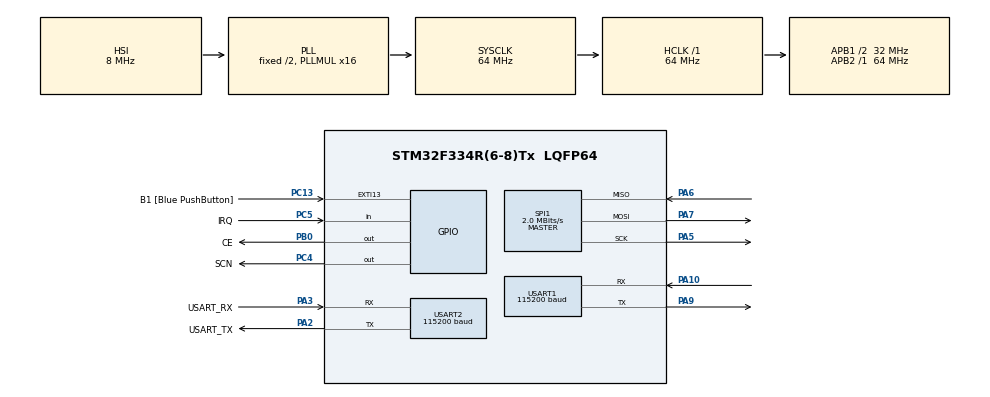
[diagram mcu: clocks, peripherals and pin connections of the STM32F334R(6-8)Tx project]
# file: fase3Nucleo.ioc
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Mcu.Family=STM32F3
Mcu.Name=STM32F334R(6-8)Tx
Mcu.Package=LQFP64
NVIC.PriorityGroup=NVIC_PRIORITYGROUP_0
NVIC.SPI1_IRQn=true\:0\:0\:false\:true\:true\:1
NVIC.USART1_IRQn=true\:0\:0\:false\:true\:true\:2
NVIC.USART2_IRQn=true\:0\:0\:false\:true\:true\:3
PA10.Mode=Asynchronous
PA10.Signal=USART1_RX
PA13.GPIO_Label=TMS
PA13.Signal=SYS_JTMS-SWDIO
PA14.GPIO_Label=TCK
PA14.Signal=SYS_JTCK-SWCLK
PA2.GPIO_Label=USART_TX
PA2.Mode=Asynchronous
PA2.Signal=USART2_TX
PA3.GPIO_Label=USART_RX
PA3.Mode=Asynchronous
PA3.Signal=USART2_RX
PA5.Mode=Full_Duplex_Master
PA5.Signal=SPI1_SCK
PA6.Mode=Full_Duplex_Master
PA6.Signal=SPI1_MISO
PA7.Mode=Full_Duplex_Master
PA7.Signal=SPI1_MOSI
PA9.Mode=Asynchronous
PA9.Signal=USART1_TX
PB0.GPIO_Label=CE
PB0.Signal=GPIO_Output
PB3.GPIO_Label=SWO
PB3.Signal=SYS_JTDO-TRACESWO
PC13.GPIO_Label=B1 [Blue PushButton]
PC13.GPIO_ModeDefaultEXTI=GPIO_MODE_EVT_RISING
PC13.Signal=GPXTI13
PC14\ /\ OSC32_IN.Signal=RCC_OSC32_IN
PC15\ /\ OSC32_OUT.GPIO_Label=RCC_OSC32_OUT
PC15\ /\ OSC32_OUT.Signal=RCC_OSC32_OUT
PC4.GPIO_Label=SCN
PC4.Signal=GPIO_Output
PC5.GPIO_Label=IRQ
PC5.Signal=GPIO_Input
PF0\ /\ OSC_IN.Signal=RCC_OSC_IN
PF1\ /\ OSC_OUT.Signal=RCC_OSC_OUT
ProjectManager.HeapSize=0x200
ProjectManager.StackSize=0x400
ProjectManager.TargetToolchain=EWARM
RCC.AHBFreq_Value=64000000
RCC.APB1CLKDivider=RCC_HCLK_DIV2
RCC.APB1Freq_Value=32000000
RCC.APB1TimFreq_Value=64000000
RCC.APB2Freq_Value=64000000
RCC.APB2TimFreq_Value=64000000
RCC.CortexFreq_Value=64000000
RCC.FLatency-AdvancedSettings=FLASH_LATENCY_2
RCC.HCLKFreq_Value=64000000
RCC.HSE_VALUE=8000000
RCC.HSI_VALUE=8000000
RCC.LSE_VALUE=32768
RCC.PLLMUL=RCC_PLL_MUL16
RCC.SYSCLKFreq_VALUE=64000000
RCC.SYSCLKSourceVirtual=RCC_SYSCLKSOURCE_PLLCLK
SPI1.BaudRatePrescaler=SPI_BAUDRATEPRESCALER_32
SPI1.CalculateBaudRate=2.0 MBits/s
SPI1.DataSize=SPI_DATASIZE_8BIT
SPI1.Mode=SPI_MODE_MASTER
USART1.BaudRate=115200
USART1.WordLength=UART_WORDLENGTH_8B
USART2.BaudRate=115200
USART2.WordLength=UART_WORDLENGTH_8B
board=NUCLEO-F334R8

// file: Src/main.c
/**
  ******************************************************************************
  * File Name          : main.c
  * Description        : Main program body
  ******************************************************************************
  *
  * COPYRIGHT(c) 2016 STMicroelectronics
  *
  * Redistribution and use in source and binary forms, with or without modification,
  * are permitted provided that the following conditions are met:
  *   1. Redistributions of source code must retain the above copyright notice,
  *      this list of conditions and the following disclaimer.
  *   2. Redistributions in binary form must reproduce the above copyright notice,
  *      this list of conditions and the following disclaimer in the documentation
  *      and/or other materials provided with the distribution.
  *   3. Neither the name of STMicroelectronics nor the names of its contributors
  *      may be used to endorse or promote products derived from this software
  *      without specific prior written permission.
  *
  * THIS SOFTWARE IS PROVIDED BY THE COPYRIGHT HOLDERS AND CONTRIBUTORS "AS IS"
  * AND ANY EXPRESS OR IMPLIED WARRANTIES, INCLUDING, BUT NOT LIMITED TO, THE
  * IMPLIED WARRANTIES OF MERCHANTABILITY AND FITNESS FOR A PARTICULAR PURPOSE ARE
  * DISCLAIMED. IN NO EVENT SHALL THE COPYRIGHT HOLDER OR CONTRIBUTORS BE LIABLE
  * FOR ANY DIRECT, INDIRECT, INCIDENTAL, SPECIAL, EXEMPLARY, OR CONSEQUENTIAL
  * DAMAGES (INCLUDING, BUT NOT LIMITED TO, PROCUREMENT OF SUBSTITUTE GOODS OR
  * SERVICES; LOSS OF USE, DATA, OR PROFITS; OR BUSINESS INTERRUPTION) HOWEVER
  * CAUSED AND ON ANY THEORY OF LIABILITY, WHETHER IN CONTRACT, STRICT LIABILITY,
  * OR TORT (INCLUDING NEGLIGENCE OR OTHERWISE) ARISING IN ANY WAY OUT OF THE USE
  * OF THIS SOFTWARE, EVEN IF ADVISED OF THE POSSIBILITY OF SUCH DAMAGE.
  *
  ******************************************************************************
  */
#include "stm32f3xx_hal.h"

/* USER CODE BEGIN Includes */

#include "nrf24l01_lib.h"

/* CSN Pin*/
#ifndef NRF24L01_CSN_PIN
#define NRF24L01_CSN_PORT			GPIOC
#define NRF24L01_CSN_PIN			GPIO_PIN_4
#endif

/* CE Pin */
#ifndef NRF24L01_CE_PIN
#define NRF24L01_CE_PORT			GPIOB
#define NRF24L01_CE_PIN				GPIO_PIN_0
#endif

/* Configurazioni dei Pin CE e CSN */
#define NRF24L01_CE_LOW				HAL_GPIO_WritePin(NRF24L01_CE_PORT, NRF24L01_CE_PIN, GPIO_PIN_RESET)
#define NRF24L01_CE_HIGH			HAL_GPIO_WritePin(NRF24L01_CE_PORT, NRF24L01_CE_PIN, GPIO_PIN_SET)
#define NRF24L01_CSN_LOW			HAL_GPIO_WritePin(NRF24L01_CSN_PORT, NRF24L01_CSN_PIN, GPIO_PIN_RESET)
#define NRF24L01_CSN_HIGH			HAL_GPIO_WritePin(NRF24L01_CSN_PORT, NRF24L01_CSN_PIN, GPIO_PIN_SET)

/* USER CODE END Includes */

SPI_HandleTypeDef hspi1;

UART_HandleTypeDef huart1;
UART_HandleTypeDef huart2;

/* USER CODE BEGIN PV */
/* Private variables ---------------------------------------------------------*/

/* Esprime lo stato della trasmissione delle variabili */

typedef enum _TM_NRF24L01_Transmit_Status_t {
	TM_NRF24L01_Transmit_Status_Lost = 0x00,   /*!< Message is lost, reached maximum number of retransmissions */
	TM_NRF24L01_Transmit_Status_Ok = 0x01,     /*!< Message sent successfully */
	TM_NRF24L01_Transmit_Status_Sending = 0xFF /*!< Message is still sending */
} TM_NRF24L01_Transmit_Status_t;

typedef union _TM_NRF24L01_IRQ_t {
	struct {
		uint8_t reserved0:4;
		uint8_t MaxRT:1;     /*!< Set to 1 if MAX retransmissions flag is set */
		uint8_t DataSent:1;  /*!< Set to 1 if last transmission is OK */
		uint8_t DataReady:1; /*!< Set to 1 if data are ready to be read */
		uint8_t reserved1:1;
	} F;
	uint8_t Status;          /*!< NRF status register value */
} TM_NRF24L01_IRQ_t;

/* Datarate di trasmissione possibili */

typedef enum _TM_NRF24L01_DataRate_t {
	TM_NRF24L01_DataRate_2M = 0x00, /*!< Data rate set to 2Mbps */
	TM_NRF24L01_DataRate_1M,        /*!< Data rate set to 1Mbps */
	TM_NRF24L01_DataRate_250k       /*!< Data rate set to 250kbps */
} TM_NRF24L01_DataRate_t;

/* Potenza del segnale del TRX */

typedef enum _TM_NRF24L01_OutputPower_t {
	TM_NRF24L01_OutputPower_M18dBm = 0x00,/*!< Output power set to -18dBm */
	TM_NRF24L01_OutputPower_M12dBm,       /*!< Output power set to -12dBm */
	TM_NRF24L01_OutputPower_M6dBm,        /*!< Output power set to -6dBm */
	TM_NRF24L01_OutputPower_0dBm          /*!< Output power set to 0dBm */
} TM_NRF24L01_OutputPower_t;

/* Struct delle caratteristiche del collegamento */

typedef struct {
	uint8_t PayloadSize;				//Payload size
	uint8_t Channel;					//Channel selected
	TM_NRF24L01_OutputPower_t OutPwr;	//Output power
	TM_NRF24L01_DataRate_t DataRate;	//Data rate
} TM_NRF24L01_t;

static TM_NRF24L01_t TM_NRF24L01_Struct;

/* Indirizzo della NUCLEO F3*/

uint8_t MyAddress[] = {
	0xAA,
	0x00,
	0x00,
	0x00,
	0x00
};

/* Indirizzo della SENSORBOARD F0 */

uint8_t TxAddress[] = {
	0xAA,
	0x00,
	0x00,
	0x00,
	0x01
};

/* Istanze delle struct dichiarate precedentemente */

TM_NRF24L01_Transmit_Status_t transmissionStatus;
TM_NRF24L01_IRQ_t NRF_IRQ;

/* Array dei dati da trasmettere */
uint8_t comando1[6] = {0x01, 0x01};              //GET TIM
uint8_t comando2[6] = {0x01, 0x02};              //GET INC
uint8_t comando3[6] = {0x03, 0x03, 0x01};        //SET LED val = 0xFFFF
uint8_t comando4[6] = {0x03, 0x03, 0x02};        //SET LED val = 0x0000
int flag = 0;           /* Permette di eseguire le trasmissioni dei comandi*/
int led_flag = 1;       /* Indica se bisogna settare i LED come stato alto (=1) o basso (=0) */

/* Array dei dati da ricevere */
uint8_t dataIn[6];

int usart1_flag = 0;             /* flag usato per individuare eventuali dati ricevuti su usart1 */
uint8_t rx_buff[200];           /*buffer di ricezione per la UART1*/

/* USER CODE END PV */

void SystemClock_Config(void);
static void MX_GPIO_Init(void);
static void MX_SPI1_Init(void);
static void MX_USART1_UART_Init(void);
static void MX_USART2_UART_Init(void);
void MX_NVIC_Init(void);

/* USER CODE BEGIN PFP */
/* Private function prototypes -----------------------------------------------*/

/* Funzioni di supporto alla comunicazione con TRX wireless */

void TM_NRF24L01_SetChannel(uint8_t);
uint8_t TM_NRF24L01_Init(uint8_t, uint8_t);
void TM_NRF24L01_SoftwareReset(void);
void TM_NRF24L01_WriteRegister(uint8_t reg, uint8_t valore);
void TM_NRF24L01_Clear_Interrupts(void);
void TM_NRF24L01_PowerUpRx(void);
void TM_NRF24L01_WriteRegisterMulti(uint8_t, uint8_t*, uint8_t);
void TM_NRF24L01_SetMyAddress(uint8_t*);
void TM_NRF24L01_SetTxAddress(uint8_t*);
void TM_NRF24L01_PowerUpTx(void);
void TM_NRF24L01_Transmit();
TM_NRF24L01_Transmit_Status_t TM_NRF24L01_GetTransmissionStatus(void);
uint8_t TM_NRF24L01_GetStatus(void);
uint8_t TM_NRF24L01_ReadRegister(uint8_t reg);
void TM_NRF24L01_GetData(uint8_t*);
uint8_t TM_NRF24L01_DataReady(void);
uint8_t TM_NRF24L01_RxFifoEmpty(void);

/* USER CODE END PFP */

int main(void)
{

  /* USER CODE BEGIN 1 */

  uint8_t printed = 0;

  /* USER CODE END 1 */

  /* MCU Configuration----------------------------------------------------------*/

  /* Reset of all peripherals, Initializes the Flash interface and the Systick. */
  HAL_Init();

  /* Configure the system clock */
  SystemClock_Config();

  /* Initialize all configured peripherals */
  MX_GPIO_Init();
  MX_SPI1_Init();
  MX_USART1_UART_Init();
  MX_USART2_UART_Init();

  /* Initialize interrupts */
  MX_NVIC_Init();

  /* USER CODE BEGIN 2 */

  HAL_UART_Receive_IT(&huart1, rx_buff, sizeof(rx_buff));

  /* Inizializzazione dei registri */
  TM_NRF24L01_Init(0x050, 0x06);

  /* Inizializzazione indirizzo cui trasmettere */
  TM_NRF24L01_SetTxAddress(TxAddress);
  /* Inizializzazione indirizzo del trasmettitore */
  TM_NRF24L01_SetMyAddress(MyAddress);
  HAL_Delay(500);

  /* USER CODE END 2 */

  /* Infinite loop */
  /* USER CODE BEGIN WHILE */
  while (1)
  {
    if(usart1_flag == 1){
      HAL_UART_Transmit(&huart2, rx_buff, sizeof(rx_buff), 100);
    }

    /* Transmit data, goes automatically to TX mode */
    //dataOut[1] = 0x00;

    switch (flag){
    case 0:
      TM_NRF24L01_Transmit(comando1);           //GET TIM
      flag++;
      HAL_Delay(500);
      break;

    case 1:                                     //GET INC
      TM_NRF24L01_Transmit(comando2);
      flag++;
      HAL_Delay(500);
      break;

    case 2:
      if(led_flag == 1){
        TM_NRF24L01_Transmit(comando3);         //SET LED 1
        led_flag = 0;
      } else if(led_flag == 0){
        TM_NRF24L01_Transmit(comando4);         //SET LED 2
        led_flag = 1;
      }
      flag=0;
      HAL_Delay(1000);
      break;
    }

    do {
      /* Restituisce lo stato della trasmissione */
      transmissionStatus = TM_NRF24L01_GetTransmissionStatus();
    } while (transmissionStatus == TM_NRF24L01_Transmit_Status_Sending);

    /* Il TRX torna nello stato RX */
    TM_NRF24L01_PowerUpRx();

    /* Si attende la ricezione dei dati dalla SENSORBOARD F0 */
    while (!TM_NRF24L01_DataReady());

    /* Ottieni i dati trasmessi dalla SENSORBOARD F0*/
    TM_NRF24L01_GetData(dataIn);
    /* Si stampano i dati ricevuti sulla USART2*/
    HAL_UART_Transmit(&huart2, dataIn, sizeof(dataIn), 100);

    /* Stato della comunicazione non stampato sulla USART1 */
    printed = 0;

    /* Controlla se lo stato и cambiato */
    if (transmissionStatus != TM_NRF24L01_Transmit_Status_Sending &&
	!printed)
	{
          /* Transmissione OK */
          if (transmissionStatus == TM_NRF24L01_Transmit_Status_Ok) {
            uint8_t service_txt[] = "\nMessaggio consegnato!\n";
            //HAL_UART_Transmit(&huart2, service_txt, sizeof(service_txt), 100);
          }

          /* Message LOST */
          if (transmissionStatus == TM_NRF24L01_Transmit_Status_Lost) {
            uint8_t service_txt2[] = "\nMessaggio perso!\n";
            //HAL_UART_Transmit(&huart2, service_txt, sizeof(service_txt), 100);
          }

          /* Set del flag Stampato */
          printed = 1;
	}

  /* USER CODE END WHILE */

  }

}

/** System Clock Configuration
*/
void SystemClock_Config(void)
{

  RCC_OscInitTypeDef RCC_OscInitStruct;
  RCC_ClkInitTypeDef RCC_ClkInitStruct;
  RCC_PeriphCLKInitTypeDef PeriphClkInit;

  RCC_OscInitStruct.OscillatorType = RCC_OSCILLATORTYPE_HSI;
  RCC_OscInitStruct.HSIState = RCC_HSI_ON;
  RCC_OscInitStruct.HSICalibrationValue = 16;
  RCC_OscInitStruct.PLL.PLLState = RCC_PLL_ON;
  RCC_OscInitStruct.PLL.PLLSource = RCC_PLLSOURCE_HSI;
  RCC_OscInitStruct.PLL.PLLMUL = RCC_PLL_MUL16;
  HAL_RCC_OscConfig(&RCC_OscInitStruct);

  RCC_ClkInitStruct.ClockType = RCC_CLOCKTYPE_HCLK|RCC_CLOCKTYPE_SYSCLK
                              |RCC_CLOCKTYPE_PCLK1|RCC_CLOCKTYPE_PCLK2;
  RCC_ClkInitStruct.SYSCLKSource = RCC_SYSCLKSOURCE_PLLCLK;
  RCC_ClkInitStruct.AHBCLKDivider = RCC_SYSCLK_DIV1;
  RCC_ClkInitStruct.APB1CLKDivider = RCC_HCLK_DIV2;
  RCC_ClkInitStruct.APB2CLKDivider = RCC_HCLK_DIV1;
  HAL_RCC_ClockConfig(&RCC_ClkInitStruct, FLASH_LATENCY_2);

  PeriphClkInit.PeriphClockSelection = RCC_PERIPHCLK_USART1;
  PeriphClkInit.Usart1ClockSelection = RCC_USART1CLKSOURCE_PCLK1;
  HAL_RCCEx_PeriphCLKConfig(&PeriphClkInit);

  HAL_SYSTICK_Config(HAL_RCC_GetHCLKFreq()/1000);

  HAL_SYSTICK_CLKSourceConfig(SYSTICK_CLKSOURCE_HCLK);

  /* SysTick_IRQn interrupt configuration */
  HAL_NVIC_SetPriority(SysTick_IRQn, 0, 0);
}

/** NVIC Configuration
*/
void MX_NVIC_Init(void)
{
  /* SPI1_IRQn interrupt configuration */
  HAL_NVIC_SetPriority(SPI1_IRQn, 0, 0);
  HAL_NVIC_EnableIRQ(SPI1_IRQn);
  /* USART1_IRQn interrupt configuration */
  HAL_NVIC_SetPriority(USART1_IRQn, 0, 0);
  HAL_NVIC_EnableIRQ(USART1_IRQn);
  /* USART2_IRQn interrupt configuration */
  HAL_NVIC_SetPriority(USART2_IRQn, 0, 0);
  HAL_NVIC_EnableIRQ(USART2_IRQn);
}

/* SPI1 init function */
void MX_SPI1_Init(void)
{

  hspi1.Instance = SPI1;
  hspi1.Init.Mode = SPI_MODE_MASTER;
  hspi1.Init.Direction = SPI_DIRECTION_2LINES;
  hspi1.Init.DataSize = SPI_DATASIZE_8BIT;
  hspi1.Init.CLKPolarity = SPI_POLARITY_LOW;
  hspi1.Init.CLKPhase = SPI_PHASE_1EDGE;
  hspi1.Init.NSS = SPI_NSS_SOFT;
  hspi1.Init.BaudRatePrescaler = SPI_BAUDRATEPRESCALER_32;
  hspi1.Init.FirstBit = SPI_FIRSTBIT_MSB;
  hspi1.Init.TIMode = SPI_TIMODE_DISABLE;
  hspi1.Init.CRCCalculation = SPI_CRCCALCULATION_DISABLE;
  hspi1.Init.CRCPolynomial = 7;
  hspi1.Init.CRCLength = SPI_CRC_LENGTH_DATASIZE;
  hspi1.Init.NSSPMode = SPI_NSS_PULSE_ENABLE;
  HAL_SPI_Init(&hspi1);

}

/* USART1 init function */
void MX_USART1_UART_Init(void)
{

  huart1.Instance = USART1;
  huart1.Init.BaudRate = 115200;
  huart1.Init.WordLength = UART_WORDLENGTH_8B;
  huart1.Init.StopBits = UART_STOPBITS_1;
  huart1.Init.Parity = UART_PARITY_NONE;
  huart1.Init.Mode = UART_MODE_TX_RX;
  huart1.Init.HwFlowCtl = UART_HWCONTROL_NONE;
  huart1.Init.OverSampling = UART_OVERSAMPLING_16;
  huart1.Init.OneBitSampling = UART_ONE_BIT_SAMPLE_DISABLE;
  huart1.AdvancedInit.AdvFeatureInit = UART_ADVFEATURE_NO_INIT;
  HAL_UART_Init(&huart1);

}

/* USART2 init function */
void MX_USART2_UART_Init(void)
{

  huart2.Instance = USART2;
  huart2.Init.BaudRate = 115200;
  huart2.Init.WordLength = UART_WORDLENGTH_8B;
  huart2.Init.StopBits = UART_STOPBITS_1;
  huart2.Init.Parity = UART_PARITY_NONE;
  huart2.Init.Mode = UART_MODE_TX_RX;
  huart2.Init.HwFlowCtl = UART_HWCONTROL_NONE;
  huart2.Init.OverSampling = UART_OVERSAMPLING_16;
  huart2.Init.OneBitSampling = UART_ONE_BIT_SAMPLE_DISABLE;
  huart2.AdvancedInit.AdvFeatureInit = UART_ADVFEATURE_NO_INIT;
  HAL_UART_Init(&huart2);

}

/** Configure pins as
        * Analog
        * Input
        * Output
        * EVENT_OUT
        * EXTI
*/
void MX_GPIO_Init(void)
{

  GPIO_InitTypeDef GPIO_InitStruct;

  /* GPIO Ports Clock Enable */
  __HAL_RCC_GPIOC_CLK_ENABLE();
  __HAL_RCC_GPIOF_CLK_ENABLE();
  __HAL_RCC_GPIOA_CLK_ENABLE();
  __HAL_RCC_GPIOB_CLK_ENABLE();

  /*Configure GPIO pin : B1_Pin */
  GPIO_InitStruct.Pin = B1_Pin;
  GPIO_InitStruct.Mode = GPIO_MODE_EVT_RISING;
  GPIO_InitStruct.Pull = GPIO_NOPULL;
  HAL_GPIO_Init(B1_GPIO_Port, &GPIO_InitStruct);

  /*Configure GPIO pin : SCN_Pin */
  GPIO_InitStruct.Pin = SCN_Pin;
  GPIO_InitStruct.Mode = GPIO_MODE_OUTPUT_PP;
  GPIO_InitStruct.Pull = GPIO_NOPULL;
  GPIO_InitStruct.Speed = GPIO_SPEED_FREQ_LOW;
  HAL_GPIO_Init(SCN_GPIO_Port, &GPIO_InitStruct);

  /*Configure GPIO pin : IRQ_Pin */
  GPIO_InitStruct.Pin = IRQ_Pin;
  GPIO_InitStruct.Mode = GPIO_MODE_INPUT;
  GPIO_InitStruct.Pull = GPIO_NOPULL;
  HAL_GPIO_Init(IRQ_GPIO_Port, &GPIO_InitStruct);

  /*Configure GPIO pin : CE_Pin */
  GPIO_InitStruct.Pin = CE_Pin;
  GPIO_InitStruct.Mode = GPIO_MODE_OUTPUT_PP;
  GPIO_InitStruct.Pull = GPIO_NOPULL;
  GPIO_InitStruct.Speed = GPIO_SPEED_FREQ_LOW;
  HAL_GPIO_Init(CE_GPIO_Port, &GPIO_InitStruct);

  /*Configure GPIO pin Output Level */
  HAL_GPIO_WritePin(SCN_GPIO_Port, SCN_Pin, GPIO_PIN_RESET);

  /*Configure GPIO pin Output Level */
  HAL_GPIO_WritePin(CE_GPIO_Port, CE_Pin, GPIO_PIN_RESET);

}

/* USER CODE BEGIN 4 */

/*Rx_IT Callback*/

void HAL_UART_RxCpltCallback(UART_HandleTypeDef *huart){
  /*Flush della Uart*/
  usart1_flag = 1;
  __HAL_UART_FLUSH_DRREGISTER(huart);
  __HAL_UART_SEND_REQ(huart, UART_RXDATA_FLUSH_REQUEST);
  __HAL_UART_CLEAR_IT(huart, UART_CLEAR_OREF);

  HAL_UART_Receive_IT(&huart1, rx_buff, sizeof(rx_buff));
}

void TM_NRF24L01_WriteBit(uint8_t reg, uint8_t bit, uint8_t value) {
	uint8_t tmp;
	/* Read register */
	tmp = TM_NRF24L01_ReadRegister(reg);
	/* Make operation */
	if (value) {
		tmp |= 1 << bit;
	} else {
		tmp &= ~(1 << bit);
	}
	/* Write back */
	TM_NRF24L01_WriteRegister(reg, tmp);
}

uint8_t TM_NRF24L01_ReadBit(uint8_t reg, uint8_t bit) {
	uint8_t tmp;
	tmp = TM_NRF24L01_ReadRegister(reg);
	if (!NRF24L01_CHECK_BIT(tmp, bit)) {
		return 0;
	}
	return 1;
}

uint8_t TM_NRF24L01_ReadRegister(uint8_t reg) {
	reg = NRF24L01_READ_REGISTER_MASK(reg); //ha i riferimenti
        uint8_t nop = NRF24L01_NOP_MASK;
        uint8_t value;
	NRF24L01_CSN_LOW;
	//TM_SPI_Send(NRF24L01_SPI, NRF24L01_READ_REGISTER_MASK(reg));
        HAL_SPI_Transmit(&hspi1, &reg, 1, 10);
	//value = TM_SPI_Send(NRF24L01_SPI, NRF24L01_NOP_MASK);
         HAL_SPI_TransmitReceive(&hspi1, &nop, &value, 1 ,10);
	NRF24L01_CSN_HIGH;

	return value;
}

void TM_NRF24L01_WriteRegister(uint8_t reg, uint8_t valore){
    uint8_t comando =  (0x20|(0x1F & reg));
    //CSN low
    //HAL_GPIO_WritePin(GPIOC, GPIO_PIN_4, GPIO_PIN_RESET);
    NRF24L01_CSN_LOW;
    HAL_SPI_Transmit(&hspi1,&comando,1,10);
    HAL_SPI_Transmit(&hspi1,&valore,1,10);
    //CSN high
    //HAL_GPIO_WritePin(GPIOC, GPIO_PIN_4, GPIO_PIN_SET);
    NRF24L01_CSN_HIGH;

}

void TM_NRF24L01_WriteRegisterMulti(uint8_t reg, uint8_t *vett, uint8_t dim){
    uint8_t comando =  (0x20|(0x1F & reg));
    //CSN low
    //HAL_GPIO_WritePin(GPIOC, GPIO_PIN_4, GPIO_PIN_RESET);
    NRF24L01_CSN_LOW;
    HAL_SPI_Transmit(&hspi1, &comando ,1, 10);
    HAL_SPI_Transmit(&hspi1, vett, 5, 10);
    //CSN high
    //HAL_GPIO_WritePin(GPIOC, GPIO_PIN_4, GPIO_PIN_SET);
    NRF24L01_CSN_HIGH;
}

uint8_t TM_NRF24L01_GetStatus(void) {
	uint8_t status;
	uint8_t nop=NRF24L01_NOP_MASK;
	NRF24L01_CSN_LOW;
	/* First received byte is always status register */
	HAL_SPI_TransmitReceive(&hspi1,&nop,&status,1,10);
	/* Pull up chip select */
	NRF24L01_CSN_HIGH;

	return status;
}

TM_NRF24L01_Transmit_Status_t TM_NRF24L01_GetTransmissionStatus(void) {
	uint8_t status = TM_NRF24L01_GetStatus();
	if (NRF24L01_CHECK_BIT(status, NRF24L01_TX_DS)) {
		/* Successfully sent */
		return TM_NRF24L01_Transmit_Status_Ok;
	} else if (NRF24L01_CHECK_BIT(status, NRF24L01_MAX_RT)) {
		/* Message lost */
		return TM_NRF24L01_Transmit_Status_Lost;
	}

	/* Still sending */
	return TM_NRF24L01_Transmit_Status_Sending;
}

void TM_NRF24L01_SetMyAddress(uint8_t *adr) {
	NRF24L01_CE_LOW;
	TM_NRF24L01_WriteRegisterMulti(NRF24L01_REG_RX_ADDR_P1, adr, 5);
	NRF24L01_CE_HIGH;
}

void TM_NRF24L01_SetTxAddress(uint8_t *adr) {
	TM_NRF24L01_WriteRegisterMulti(NRF24L01_REG_RX_ADDR_P0, adr, 5);        //La pipeline P0 viene usata per la trasmissione dell'ACK (vedi pag 72 nrf24l01+.pdf
	TM_NRF24L01_WriteRegisterMulti(NRF24L01_REG_TX_ADDR, adr, 5);
}

void TM_NRF24L01_PowerUpRx(void) {
	/* Disable RX/TX mode */
	NRF24L01_CE_LOW;
	/* Clear RX buffer */
        NRF24L01_FLUSH_RX;
	/* Clear interrupts */
	TM_NRF24L01_Clear_Interrupts();
	/* Setup RX mode */
	//TM_NRF24L01_WriteRegister(NRF24L01_REG_CONFIG, NRF24L01_CONFIG | 1 << NRF24L01_PWR_UP | 1 << NRF24L01_PRIM_RX);
	TM_NRF24L01_WriteRegister(NRF24L01_REG_CONFIG, 0x3F);
        /* Start listening */
	NRF24L01_CE_HIGH;
}

void TM_NRF24L01_Transmit(uint8_t * data) {
  /* Chip enable put to low, disable it */
  NRF24L01_CE_LOW;

  /* Entra in modalitа Trasmissione */
  /*TM_NRF24L01_PowerUpTxPowerUpTx()*/

  TM_NRF24L01_Clear_Interrupts();
  TM_NRF24L01_WriteRegister(NRF24L01_REG_CONFIG, 0x0E);

  /* Clear TX FIFO from NRF24L01+ */

  NRF24L01_FLUSH_TX;

  /* Send payload to nRF24L01+ */
  NRF24L01_CSN_LOW;

  /* Send write payload command */
  uint8_t payloadTxMask = NRF24L01_W_TX_PAYLOAD_MASK;
  HAL_SPI_Transmit(&hspi1, &payloadTxMask, 1, 100);

  /* Fill payload with data*/
  HAL_SPI_Transmit(&hspi1, data, TM_NRF24L01_Struct.PayloadSize, 200);

  /* Disable SPI */
  NRF24L01_CSN_HIGH;

  /* Send data! */
  NRF24L01_CE_HIGH;
}

void TM_NRF24L01_SetChannel(uint8_t channel) {
	if (channel <= 125 && channel != TM_NRF24L01_Struct.Channel) {
		/* Store new channel setting */
		TM_NRF24L01_Struct.Channel = channel;
		/* Write channel */
		TM_NRF24L01_WriteRegister(NRF24L01_REG_RF_CH, channel);
	}
}

uint8_t TM_NRF24L01_Init(uint8_t channel, uint8_t payload_size) {
        //questo
        NRF24L01_CSN_HIGH;
        NRF24L01_CE_LOW;
	/* Max payload is 32bytes */
	if (payload_size > 32) {
		payload_size = 32;
	}

	/* Fill structure */
	TM_NRF24L01_Struct.Channel = !channel; /* Set channel to some different value for TM_NRF24L01_SetChannel() function */
	TM_NRF24L01_Struct.PayloadSize = payload_size;
	TM_NRF24L01_Struct.OutPwr = TM_NRF24L01_OutputPower_0dBm;
	TM_NRF24L01_Struct.DataRate = TM_NRF24L01_DataRate_1M;

        /*Abilita l'Auto-ACK per la Pipe 0*/
        //TM_NRF24L01_WriteRegister(NRF24L01_REG_EN_AA,0x01);
	TM_NRF24L01_WriteRegister(NRF24L01_REG_EN_AA,0x03);
        /* Abilita la pipe 0 per la ricezione */
        //TM_NRF24L01_WriteRegister(NRF24L01_REG_EN_RXADDR, 0x01);
        TM_NRF24L01_WriteRegister(NRF24L01_REG_EN_RXADDR, 0x03);
	/* Impostazione del canale */
	TM_NRF24L01_SetChannel(channel);

	/* Impostazioni del collegamento: 1Mbps, 0dBm, LNA OFF  */
        TM_NRF24L01_WriteRegister(NRF24L01_REG_RF_SETUP, 0x06);

        /* Impostazione della dimensione degli indirizzi dRX (5 byte) */
        TM_NRF24L01_WriteRegister(NRF24L01_REG_SETUP_AW, 0x03);

        /* Config register */
	TM_NRF24L01_WriteRegister(NRF24L01_REG_CONFIG, 0x3F);

	/* Set pipeline to max possible 32 bytes */
	TM_NRF24L01_WriteRegister(NRF24L01_REG_RX_PW_P0, TM_NRF24L01_Struct.PayloadSize); // Auto-ACK pipe
	TM_NRF24L01_WriteRegister(NRF24L01_REG_RX_PW_P1, TM_NRF24L01_Struct.PayloadSize); // Data payload pipe

	/* Abilita il payload dinamico */
        //TM_NRF24L01_WriteRegister(NRF24L01_REG_FEATURE,0x05);
        TM_NRF24L01_WriteRegister(NRF24L01_REG_FEATURE,0x06);
        //TM_NRF24L01_WriteRegister(NRF24L01_REG_DYNPD,0x01); // Payload Dinamico
        TM_NRF24L01_WriteRegister(NRF24L01_REG_DYNPD,0x03); // Payload Dinamico

	/* Clear FIFOs */
	NRF24L01_FLUSH_TX;
        /*
        NRF24L01_CSN_LOW;
        HAL_SPI_Transmit(&hspi1, &flushTxMask, 1, 10);
        NRF24L01_CSN_HIGH;
        */

	NRF24L01_FLUSH_RX;
        /*
        NRF24L01_CSN_LOW;
        HAL_SPI_Transmit(&hspi1, &flushRxMask, 1, 10);
        NRF24L01_CSN_HIGH;
	*/

	/* Clear interrupts */
        TM_NRF24L01_Clear_Interrupts();

	/* Go to RX mode */
	TM_NRF24L01_PowerUpRx();

	/* Return OK */
	return 1;
}

void TM_NRF24L01_Clear_Interrupts(void) {
	TM_NRF24L01_WriteRegister(0x07, 0x70);
}

/* Funzioni necessarie per la ricezione */

void TM_NRF24L01_GetData(uint8_t* dataOut) {
        uint8_t payloadRxMask = NRF24L01_R_RX_PAYLOAD_MASK;

	/* Pull down chip select */
	NRF24L01_CSN_LOW;
	/* Send read payload command*/
	//TM_SPI_Send(NRF24L01_SPI, NRF24L01_R_RX_PAYLOAD_MASK);
	HAL_SPI_Transmit(&hspi1, &payloadRxMask, 1, 10);
	/* Read payload */
	//TM_SPI_SendMulti(NRF24L01_SPI, data, data, TM_NRF24L01_Struct.PayloadSize);
	HAL_SPI_TransmitReceive(&hspi1, dataOut, dataOut, TM_NRF24L01_Struct.PayloadSize, 10);
	/* Pull up chip select */
	NRF24L01_CSN_HIGH;

	/* Reset status register, clear RX_DR interrupt flag */
	TM_NRF24L01_WriteRegister(NRF24L01_REG_STATUS, (1 << NRF24L01_RX_DR));
}

uint8_t TM_NRF24L01_DataReady(void) {
	uint8_t status = TM_NRF24L01_GetStatus();

	if (NRF24L01_CHECK_BIT(status, NRF24L01_RX_DR)) {
		return 1;
	}
	return !TM_NRF24L01_RxFifoEmpty();
}

uint8_t TM_NRF24L01_RxFifoEmpty(void) {
	uint8_t reg = TM_NRF24L01_ReadRegister(NRF24L01_REG_FIFO_STATUS);
	return NRF24L01_CHECK_BIT(reg, NRF24L01_RX_EMPTY);
}
/* USER CODE END 4 */

/************************ (C) COPYRIGHT STMicroelectronics *****END OF FILE****/
